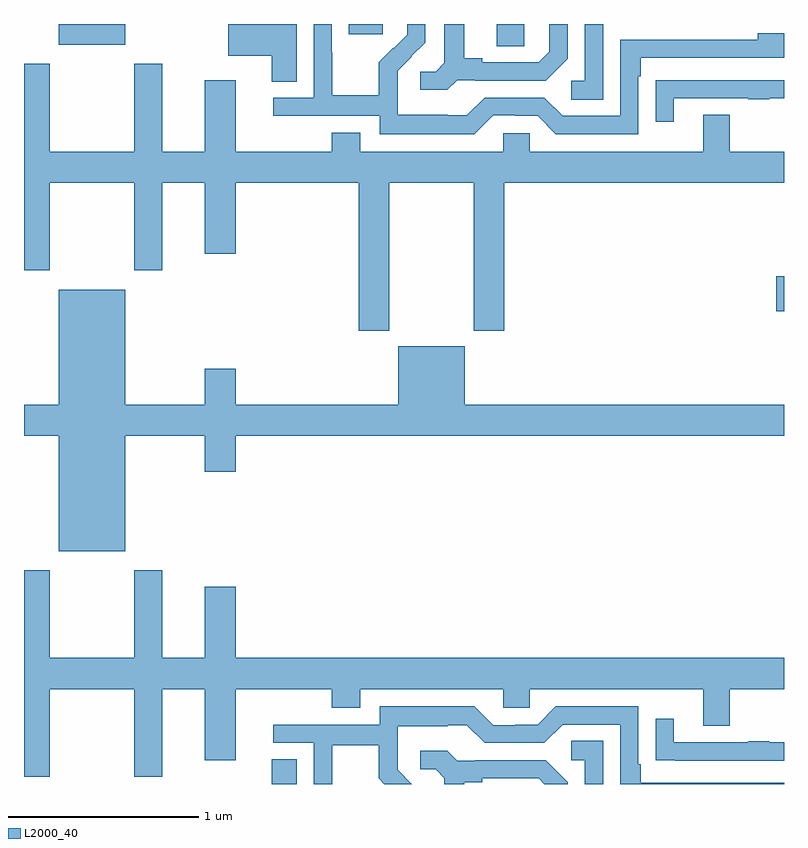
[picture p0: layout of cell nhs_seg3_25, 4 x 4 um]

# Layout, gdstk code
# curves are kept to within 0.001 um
import gdstk
lib = gdstk.Library(unit=1e-6, precision=1e-09)
def R(c, l, rs):  # rectangles x0, y0, x1, y1
    for r in rs: c.add(gdstk.rectangle(r[:2], r[2:], *l))
def P(c, l, *ps):  # polygons
    for p in ps: c.add(gdstk.Polygon(p, *l))
L2000_40 = (2000, 40)

nhs_seg3_25 = lib.new_cell('nhs_seg3_25')
R(nhs_seg3_25, L2000_40, [(112.304,716.4,112.435,716.531), (114.96,718.889,115,719.072), (113.489,720.283,113.634,720.4), (111.182,720.29,111.532,720.4), (112.709,720.345,112.888,720.4)])
P(nhs_seg3_25, L2000_40, [(112.435,720.4),(112.292,720.4),(112.292,720.399),(112.074,720.399),(112.074,720.233),(112.304,720.233),(112.304,720.097),(112.435,720.097)],
  [(113.28,720.105),(113.374,720.105),(113.374,720.102),(113.746,720.102),(113.862,720.218),(113.862,720.4),(113.765,720.4),(113.765,720.255),(113.708,720.198),(113.413,720.198),(113.413,720.221),(113.317,720.221),(113.317,720.4),(113.213,720.4),(113.213,720.197),(113.166,720.15),(113.085,720.15),(113.085,720.053),(113.228,720.053)],
  [(113.469,719.919),(113.585,719.919),(113.585,719.916),(113.703,719.916),(113.799,719.82),(114.234,719.82),(114.234,720.125),(114.247,720.125),(114.247,720.222),(115,720.222),(115,720.352),(114.863,720.352),(114.863,720.318),(114.138,720.318),(114.138,719.916),(113.835,719.916),(113.739,720.012),(113.424,720.012),(113.331,719.919),(113.231,719.919),(113.231,719.923),(112.968,719.923),(112.968,720.057),(112.966,720.057),(112.966,720.154),(113.112,720.302),(113.112,720.4),(113.018,720.4),(113.018,720.344),(112.947,720.273),(112.944,720.276),(112.867,720.199),(112.867,720.025),(112.623,720.025),(112.623,720.248),(112.62,720.248),(112.62,720.4),(112.524,720.4),(112.524,720.012),(112.311,720.012),(112.311,719.916),(112.872,719.916),(112.872,719.819),(113.369,719.819)],
  [(114.048,720.4),(113.952,720.4),(113.952,720.102),(113.88,720.102),(113.88,720.001),(114.048,720.001)],
  [(112.923,719.564),(113.368,719.564),(113.368,718.785),(113.528,718.785),(113.528,719.564),(115,719.564),(115,719.728),(114.715,719.728),(114.715,719.923),(114.575,719.923),(114.575,719.728),(113.661,719.728),(113.661,719.826),(113.523,719.826),(113.523,719.728),(112.771,719.728),(112.771,719.827),(112.619,719.827),(112.619,719.728),(112.114,719.728),(112.114,720.103),(111.95,720.103),(111.95,719.728),(111.727,719.728),(111.727,720.19),(111.58,720.19),(111.58,719.728),(111.135,719.728),(111.135,720.19),(111,720.19),(111,719.103),(111.135,719.103),(111.135,719.564),(111.58,719.564),(111.58,719.103),(111.727,719.103),(111.727,719.564),(111.95,719.564),(111.95,719.19),(112.114,719.19),(112.114,719.564),(112.763,719.564),(112.763,718.785),(112.923,718.785)],
  [(114.421,720.009),(114.811,720.009),(114.811,720.004),(114.923,720.004),(114.923,720.009),(115,720.009),(115,720.105),(114.427,720.105),(114.427,720.104),(114.325,720.104),(114.325,719.886),(114.421,719.886)],
  [(111.532,718.232),(111.95,718.232),(111.95,718.044),(112.114,718.044),(112.114,718.232),(115,718.232),(115,718.396),(113.32,718.396),(113.32,718.705),(112.97,718.705),(112.97,718.396),(112.114,718.396),(112.114,718.585),(111.95,718.585),(111.95,718.396),(111.532,718.396),(111.532,719.002),(111.182,719.002),(111.182,718.396),(111,718.396),(111,718.232),(111.182,718.232),(111.182,717.626),(111.532,717.626)],
  [(111.135,716.9),(111.58,716.9),(111.58,716.439),(111.727,716.439),(111.727,716.9),(111.95,716.9),(111.95,716.526),(112.114,716.526),(112.114,716.9),(112.619,716.9),(112.619,716.801),(112.771,716.801),(112.771,716.9),(113.523,716.9),(113.523,716.802),(113.661,716.802),(113.661,716.9),(114.575,716.9),(114.575,716.706),(114.715,716.706),(114.715,716.9),(115,716.9),(115,717.064),(112.114,717.064),(112.114,717.439),(111.95,717.439),(111.95,717.064),(111.727,717.064),(111.727,717.526),(111.58,717.526),(111.58,717.064),(111.135,717.064),(111.135,717.526),(111,717.526),(111,716.439),(111.135,716.439)],
  [(112.623,716.604),(112.867,716.604),(112.867,716.429),(112.896,716.4),(113.04,716.4),(112.966,716.474),(112.966,716.571),(112.968,716.571),(112.968,716.705),(113.231,716.705),(113.231,716.709),(113.331,716.709),(113.424,716.616),(113.739,716.616),(113.835,716.712),(114.138,716.712),(114.138,716.4),(115,716.4),(115,716.406),(114.247,716.406),(114.247,716.503),(114.234,716.503),(114.234,716.808),(113.799,716.808),(113.703,716.712),(113.585,716.712),(113.585,716.709),(113.469,716.709),(113.369,716.809),(112.872,716.809),(112.872,716.712),(112.311,716.712),(112.311,716.616),(112.524,716.616),(112.524,716.4),(112.623,716.4)],
  [(115,716.619),(114.923,716.619),(114.923,716.624),(114.811,716.624),(114.811,716.619),(114.421,716.619),(114.421,716.743),(114.325,716.743),(114.325,716.524),(114.427,716.524),(114.427,716.523),(115,716.523)],
  [(114.048,716.627),(113.88,716.627),(113.88,716.526),(113.952,716.526),(113.952,716.4),(114.048,716.4)],
  [(113.317,716.408),(113.413,716.408),(113.413,716.43),(113.708,716.43),(113.738,716.4),(113.862,716.4),(113.862,716.41),(113.746,716.526),(113.374,716.526),(113.374,716.523),(113.28,716.523),(113.228,716.575),(113.085,716.575),(113.085,716.478),(113.166,716.478),(113.213,716.431),(113.213,716.4),(113.317,716.4)])

lib.write_gds('nhs_seg3_25.gds')
